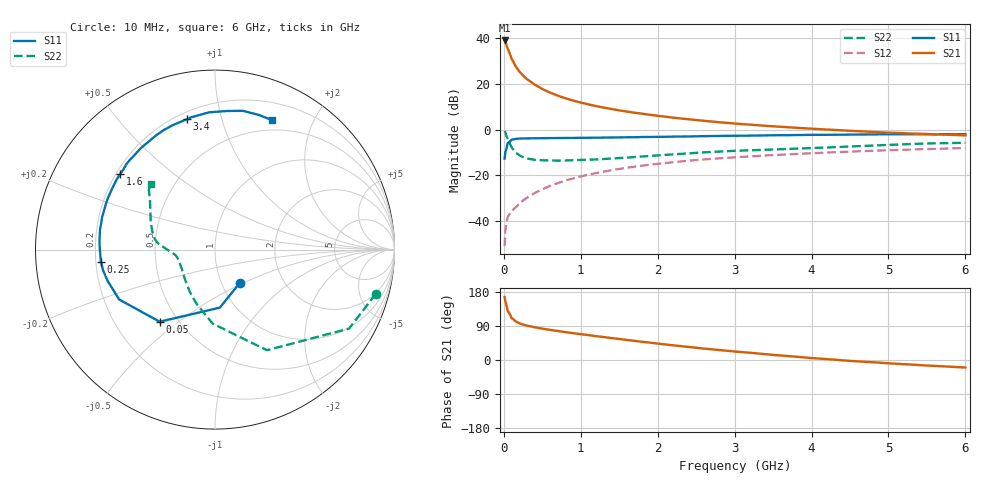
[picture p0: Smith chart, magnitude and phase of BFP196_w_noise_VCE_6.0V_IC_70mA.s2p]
! Infineon Technologies  Discrete & RF Semiconductors
! BFP196
! VCE =  6.0 V,  IC =  70 mA
! Common Emitter S-Parameters:  Jan 2017
# GHz  S  MA  R  50
!  f  S11  S21  S12  S22
! GHz  MAG  ANG  MAG  ANG  MAG  ANG  MAG  ANG
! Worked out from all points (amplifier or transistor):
!   77 points, 10 MHz to 6 GHz, reference 50 ohm
!   highest |S21| = 39.0 dB at 10 MHz (marker M1)
!   |S21| within 3 dB of that: start of sweep to 43.6 MHz
!   unconditionally stable (mu >= 1): 467.9 MHz to 2.46 GHz
!   at 130 MHz: K = 0.69, MSG = 32.0 dB, |S12| = -34.8 dB
!   at 2.2 GHz: K = 1.01, MAG = 9.2 dB, |S12| = -14.3 dB
!   at 6 GHz: K = 0.95, MSG = 2.8 dB, |S12| = -8.1 dB
!   lowest NFmin = 1.68 dB at 450 MHz
!   S11 on the Smith chart (normalised r, x): 10 MHz: 1.22, -0.48; 50 MHz: 0.40, -0.43; 250 MHz: 0.22, -0.05; 1.6 GHz: 0.22, +0.34; 3.4 GHz: 0.24, +0.78; 6 GHz: 0.38, +1.46
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0.01  0.2314 -53.1  89.09 166.2  0.0028 83.8  0.9292 -15.4
0.02  0.3243 -85.2  83.41 154.2  0.0061 73.5  0.8669 -30.5
0.05  0.5065 -127.5  58.93 129.0  0.0121 59.0  0.6307 -62.7
0.1  0.602 -152.5  35.6 110.6  0.0163 56.4  0.4122 -91.9
0.15  0.6225 -163.5  24.71 102.4  0.0196 57.8  0.3183 -108.9
0.2  0.6338 -169.3  18.84 97.2  0.0235 60.7  0.2736 -121.0
0.25  0.6396 -173.9  15.18 93.4  0.0281 63.0  0.248 -129.3
0.3  0.6396 -177.1  12.69 90.7  0.032 65.6  0.2331 -136.5
0.4  0.6436 177.9  9.61 86.3  0.0405 67.5  0.2179 -145.8
0.5  0.6467 173.8  7.694 82.7  0.0492 68.3  0.2124 -152.3
0.6  0.6502 170.1  6.445 79.4  0.0585 68.1  0.2106 -157.4
0.7  0.6509 167.1  5.526 76.6  0.0669 68.2  0.2087 -161.3
0.9  0.6553 160.9  4.305 70.9  0.0849 67.3  0.213 -166.2
1.1  0.6617 155.1  3.548 65.7  0.1029 65.4  0.2185 -170.2
1.3  0.6661 149.5  3.015 60.5  0.1198 62.7  0.2264 -173.0
1.6  0.6763 141.4  2.475 52.9  0.1457 58.9  0.2427 -176.6
2.1  0.695 128.6  1.91 41.1  0.1848 52.0  0.2789 178.3
3.1  0.7336 107.4  1.316 20.8  0.2524 38.4  0.3468 168.3
3.4  0.7439 102.0  1.209 15.4  0.2699 34.7  0.361 164.4
4.1  0.7665 91.0  1.022 3.7  0.308 26.1  0.399 154.0
5.1  0.7878 77.3  0.842 -9.8  0.3569 14.3  0.4677 141.1
6  0.7882 66.3  0.745 -19.9  0.3938 4.3  0.5129 134.4
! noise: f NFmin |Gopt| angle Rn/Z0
0.45  1.68  0.46  -172  0.06
0.9  1.84  0.5  -159  0.09
1.9  2.66  0.69  -131  0.36
2.4  3.05  0.7  -117  0.79
